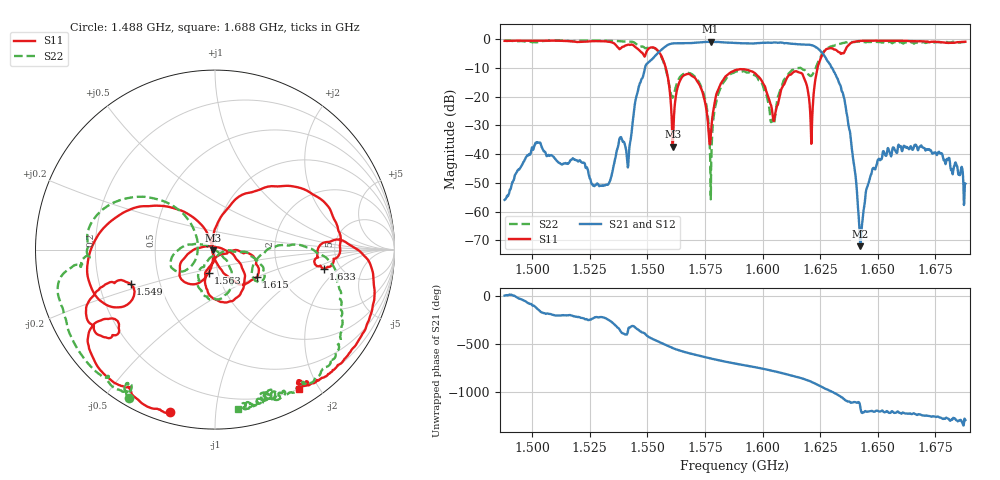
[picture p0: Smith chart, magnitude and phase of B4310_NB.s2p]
! Matrix data file written by TouchstoneData, EPCOS AG
! FILENAME: "newformat_LZ14B_1_NB.s2p"
! COMMENT: "(LZ14B_1_NB.s2p) EPCOS AG 15.12.2011 14:51:3"
! INFO: nport=2, nfreq=1601
! DATE: "Thu Dec 15 15:57:37 2011"
! USER: "Sergey Rostovtsev"
! port | pin | signal
!  1  |  1  |  in
!  2  |  4  |  out
# MHZ S MA R 50
! freq  magS11 angS11  magS21 angS21  magS12 angS12  magS22 angS22
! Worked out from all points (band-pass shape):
!   1601 points, 1.488 GHz to 1.688 GHz, reference 50 ohm
!   highest |S21| = -0.87 dB at 1.577 GHz (marker M1); lowest = -72.0 dB at 1.642 GHz (marker M2)
!   |S21| within 3 dB of the highest: 1.556 GHz to 1.625 GHz (69.17 MHz wide, 4.35 % of centre)
!   lowest |S11| = -37.4 dB at 1.561 GHz (marker M3), VSWR 1.03, Z = 48.7 - j0.372 ohm
!   |S11| at or under -10 dB: 1.558 GHz to 1.624 GHz (65.86 MHz wide, 4.14 % of centre)
!   |S22| runs from -55.7 to -0.4 dB; largest |S21 - S12| = 0.0013
!   S11 on the Smith chart (normalised r, x): 1.488 GHz: 0.05, -0.76; 1.549 GHz: 0.34, -0.17; 1.563 GHz: 0.90, -0.24; 1.615 GHz: 1.50, -0.50; 1.633 GHz: 3.73, -1.27; 1.688 GHz: 0.20, -1.75
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1488  0.9399 -105.5  0.001606 2.8  0.001607 2.6  0.9553 -120.0
1502  0.9438 -110.0  0.01621 -130.8  0.01622 -130.8  0.8865 -121.7
1521.375  0.9058 -121.9  0.007305 130.7  0.007301 130.7  0.9467 -132.7
1533.125  0.9079 -138.6  0.003041 109.9  0.003051 110.0  0.9439 -144.9
1541.875  0.8079 -146.6  0.009334 27.6  0.009332 27.6  0.9111 -160.1
1548.625  0.5071 -157.8  0.279 -28.3  0.2791 -28.3  0.7203 -177.0
1554.75  0.6192 167.2  0.5904 -117.2  0.5907 -117.3  0.608 153.6
1561  0.01345 -163.5  0.8479 175.2  0.8484 175.2  0.09688 -175.7
1562.875  0.1346 -105.5  0.8513 158.1  0.8521 158.1  0.1762 -144.4
1572.375  0.1665 -167.0  0.8833 95.9  0.8837 95.8  0.1801 174.9
1577.375  0.01814 46.0  0.9046 67.1  0.9049 67.1  0.003457 168.7
1581.125  0.1445 -26.2  0.8982 46.9  0.8986 46.8  0.1239 -49.8
1588  0.2898 -62.0  0.8644 14.0  0.8648 14.0  0.2706 -80.5
1604.375  0.0461 -87.2  0.8764 -62.5  0.8768 -62.6  0.03668 -69.2
1614.625  0.2785 -33.6  0.8243 -124.4  0.8248 -124.5  0.3153 -28.8
1621.375  0.0292 121.3  0.7893 -179.7  0.7898 -179.7  0.2361 -14.1
1625.25  0.4734 48.3  0.6131 135.0  0.6131 135.0  0.5046 1.8
1632.625  0.6148 -10.0  0.2026 46.3  0.2028 46.3  0.8171 -29.5
1637.375  0.799 -0.2  0.03 -22.8  0.03001 -22.8  0.8922 -43.7
1642.375  0.9362 -20.5  0.0002505 -83.2  0.0002511 -82.3  0.916 -53.1
1654.75  0.9465 -41.5  0.01191 -140.2  0.01192 -140.3  0.9027 -66.0
1688  0.9068 -59.1  0.003079 143.4  0.003084 143.4  0.8946 -81.9
